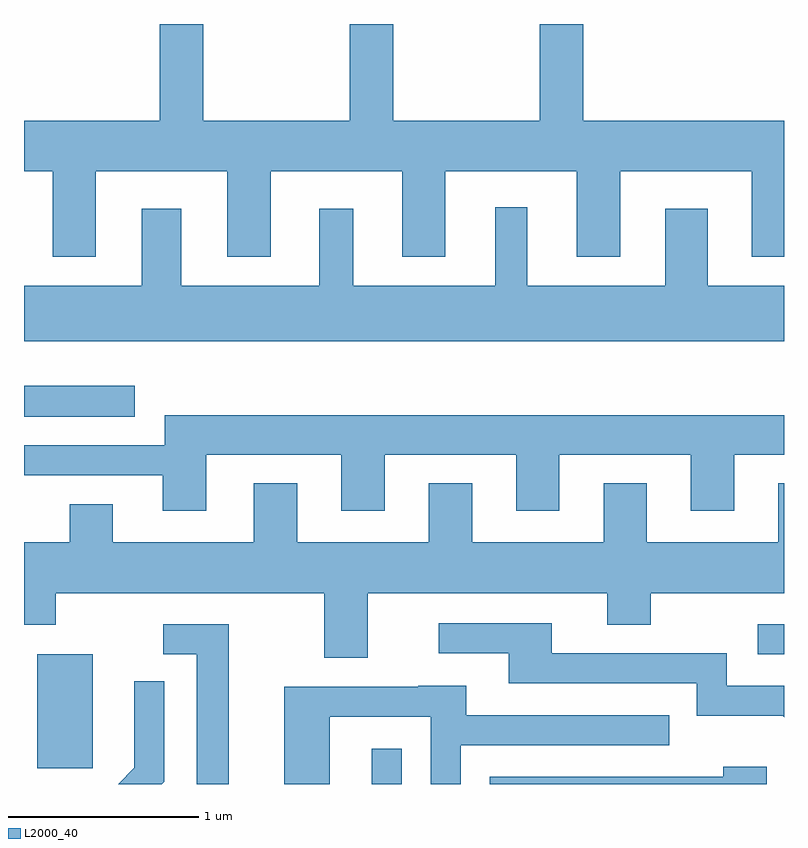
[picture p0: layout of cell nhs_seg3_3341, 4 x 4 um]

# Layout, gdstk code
import gdstk
lib = gdstk.Library(unit=1e-6, precision=1e-09)
def R(c, l, rs):  # rectangles x0, y0, x1, y1
    for r in rs: c.add(gdstk.rectangle(r[:2], r[2:], *l))
def P(c, l, *ps):  # polygons
    for p in ps: c.add(gdstk.Polygon(p, *l))
L2000_40 = (2000, 40)

nhs_seg3_3341 = lib.new_cell('nhs_seg3_3341')
R(nhs_seg3_3341, L2000_40, [(285.441,1133.892,285.599,1134.078), (283.681,1133.976,283.974,1134.574), (287.473,1134.576,287.611,1134.734), (283.611,1135.826,284.193,1135.989)])
P(nhs_seg3_3341, L2000_40, [(283.611,1137.116),(283.761,1137.116),(283.761,1136.666),(283.989,1136.666),(283.989,1137.116),(284.681,1137.116),(284.681,1136.666),(284.909,1136.666),(284.909,1137.116),(285.601,1137.116),(285.601,1136.666),(285.829,1136.666),(285.829,1137.116),(286.521,1137.116),(286.521,1136.666),(286.749,1136.666),(286.749,1137.116),(287.441,1137.116),(287.441,1136.666),(287.611,1136.666),(287.611,1137.384),(286.554,1137.384),(286.554,1137.892),(286.326,1137.892),(286.326,1137.384),(285.554,1137.384),(285.554,1137.892),(285.326,1137.892),(285.326,1137.384),(284.554,1137.384),(284.554,1137.892),(284.326,1137.892),(284.326,1137.384),(283.611,1137.384)],
  [(287.611,1136.514),(287.209,1136.514),(287.209,1136.919),(286.986,1136.919),(286.986,1136.514),(286.259,1136.514),(286.259,1136.928),(286.091,1136.928),(286.091,1136.514),(285.344,1136.514),(285.344,1136.919),(285.166,1136.919),(285.166,1136.514),(284.439,1136.514),(284.439,1136.919),(284.231,1136.919),(284.231,1136.514),(283.611,1136.514),(283.611,1136.221),(287.611,1136.221)],
  [(284.569,1135.626),(285.281,1135.626),(285.281,1135.331),(285.509,1135.331),(285.509,1135.626),(286.201,1135.626),(286.201,1135.331),(286.429,1135.331),(286.429,1135.626),(287.121,1135.626),(287.121,1135.331),(287.349,1135.331),(287.349,1135.626),(287.611,1135.626),(287.611,1135.834),(284.351,1135.834),(284.351,1135.674),(283.611,1135.674),(283.611,1135.516),(284.341,1135.516),(284.341,1135.331),(284.569,1135.331)],
  [(285.191,1134.556),(285.419,1134.556),(285.419,1134.896),(286.681,1134.896),(286.681,1134.731),(286.909,1134.731),(286.909,1134.896),(287.611,1134.896),(287.611,1135.474),(287.581,1135.474),(287.581,1135.164),(286.889,1135.164),(286.889,1135.474),(286.661,1135.474),(286.661,1135.164),(285.969,1135.164),(285.969,1135.474),(285.741,1135.474),(285.741,1135.164),(285.049,1135.164),(285.049,1135.474),(284.821,1135.474),(284.821,1135.164),(284.079,1135.164),(284.079,1135.364),(283.851,1135.364),(283.851,1135.164),(283.611,1135.164),(283.611,1134.731),(283.779,1134.731),(283.779,1134.896),(285.191,1134.896)],
  [(287.611,1134.409),(287.309,1134.409),(287.309,1134.579),(286.389,1134.579),(286.389,1134.739),(285.793,1134.739),(285.793,1134.581),(286.161,1134.581),(286.161,1134.421),(287.151,1134.421),(287.151,1134.251),(287.604,1134.251),(287.611,1134.244)],
  [(284.689,1134.734),(284.343,1134.734),(284.343,1134.576),(284.521,1134.576),(284.521,1133.892),(284.689,1133.892)],
  [(284.349,1133.904),(284.349,1134.433),(284.191,1134.433),(284.191,1133.977),(284.106,1133.892),(284.337,1133.892)],
  [(285.219,1134.246),(285.751,1134.246),(285.751,1133.892),(285.909,1133.892),(285.909,1134.096),(287.008,1134.096),(287.008,1134.254),(285.939,1134.254),(285.939,1134.409),(285.685,1134.409),(285.685,1134.404),(284.981,1134.404),(284.981,1133.892),(285.219,1133.892)],
  [(287.519,1133.984),(287.291,1133.984),(287.291,1133.929),(286.061,1133.929),(286.061,1133.892),(287.519,1133.892)])

lib.write_gds('nhs_seg3_3341.gds')
